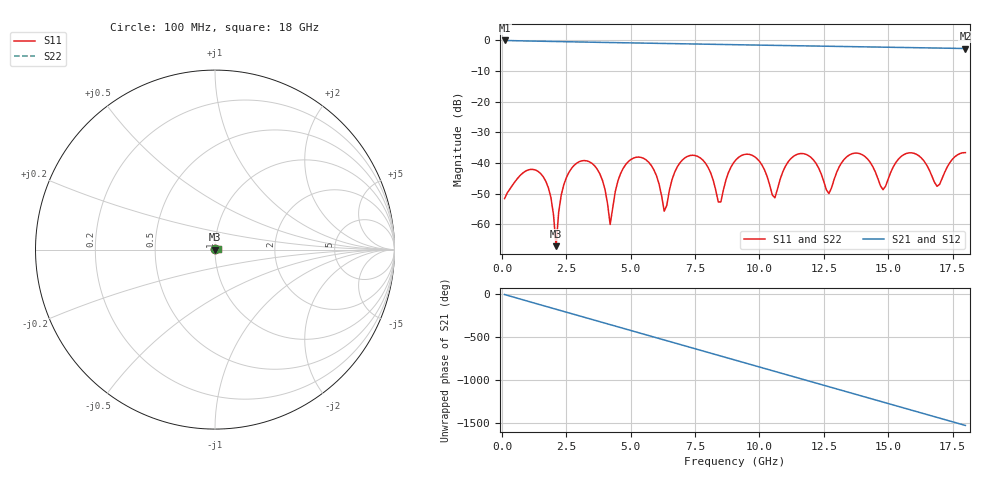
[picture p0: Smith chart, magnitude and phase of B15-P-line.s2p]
! yapnr rf coupon B: B15 P L40 (line, family P)
! stackup JLC06161H-7628, nominal parameters; reference planes 10 mm from each end; 50 ohm (renormalized from the line's Zc)
! model: 2D quasi-static RLGC (Djordjevic-Sarkar, Huray roughness, Wheeler loss); generated by python -m yapnr.rf.coupons expected
# GHz S DB R 50
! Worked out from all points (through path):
!   180 points, 100 MHz to 18 GHz, reference 50 ohm
!   highest |S21| = -0.04 dB at 100 MHz (marker M1); lowest = -2.7 dB at 18 GHz (marker M2)
!   group delay of S21, straight-line fit = 236 ps
!   lowest |S11| = -67.1 dB at 2.1 GHz (marker M3), VSWR 1.00, Z = 50 + j0.0151 ohm
!   |S11| at or under -10 dB: start of sweep to end of sweep
!   |S22| runs from -67.1 to -36.6 dB; largest |S21 - S12| = 0
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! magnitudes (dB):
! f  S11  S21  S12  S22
! 100 MHz  -51.6  0.0  0.0  -51.6
! 1.5 GHz  -43.4  -0.3  -0.3  -43.4
! 1.9 GHz  -51.3  -0.4  -0.4  -51.3
! 2.1 GHz  -67.1  -0.4  -0.4  -67.1
! 2.4 GHz  -47.1  -0.4  -0.4  -47.1
! 3.1 GHz  -39.3  -0.6  -0.6  -39.3
! 3.8 GHz  -43.5  -0.7  -0.7  -43.5
! 4.2 GHz  -60.0  -0.7  -0.7  -60.0
! 5 GHz  -38.9  -0.8  -0.8  -38.9
! 6.1 GHz  -46.8  -1.0  -1.0  -46.8
! 6.3 GHz  -55.7  -1.0  -1.0  -55.7
! 7.5 GHz  -37.5  -1.2  -1.2  -37.5
! 8.5 GHz  -52.7  -1.3  -1.3  -52.7
! 9.1 GHz  -38.8  -1.4  -1.4  -38.8
! 10.6 GHz  -51.3  -1.6  -1.6  -51.3
! 12.1 GHz  -39.0  -1.9  -1.9  -39.0
! 12.7 GHz  -50.0  -1.9  -1.9  -50.0
! 13.6 GHz  -37.0  -2.1  -2.1  -37.0
! 15.1 GHz  -43.0  -2.3  -2.3  -43.0
! 16 GHz  -36.8  -2.4  -2.4  -36.8
! 16.9 GHz  -47.6  -2.5  -2.5  -47.6
! 18 GHz  -36.6  -2.7  -2.7  -36.6
